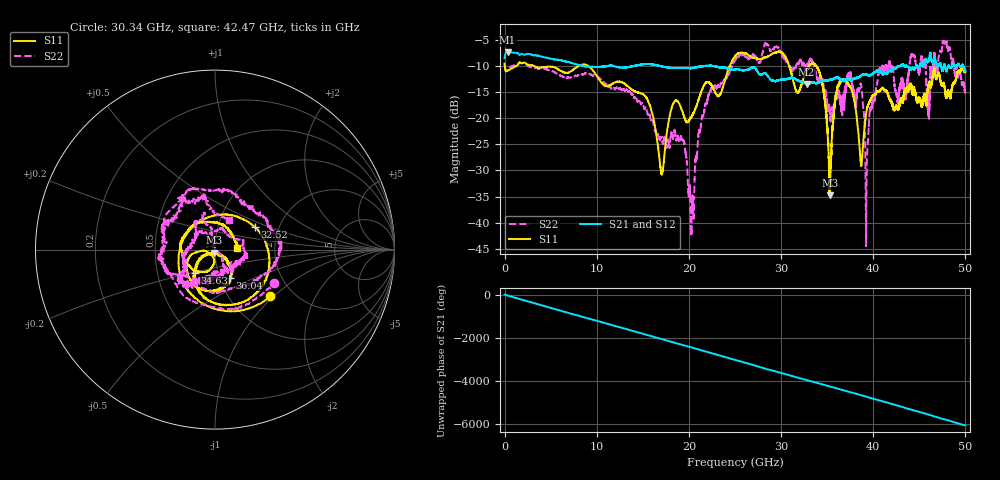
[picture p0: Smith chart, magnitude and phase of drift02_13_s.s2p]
!Created with skrf (http://scikit-rf.org).
# Hz S RI R 50.0
!freq ReS11 ImS11 ReS21 ImS21 ReS12 ImS12 ReS22 ImS22
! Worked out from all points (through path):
!   10001 points, 300 kHz to 50 GHz, reference 50 ohm
!   highest |S21| = -7.32 dB at 325.3 MHz (marker M1); lowest = -13.4 dB at 32.77 GHz (marker M2)
!   group delay of S21, straight-line fit = 335 ps
!   lowest |S11| = -34.8 dB at 35.29 GHz (marker M3), VSWR 1.04, Z = 49.6 - j1.76 ohm
!   |S11| at or under -10 dB: 3.233 GHz to 8.005 GHz (4.773 GHz wide, 84.9 % of centre); 9.103 GHz to 24.41 GHz (15.31 GHz wide, 91.4 % of centre); 33.83 GHz to end of sweep (the widest 3 of 9)
!   |S22| runs from -44.5 to -5.1 dB; largest |S21 - S12| = 0.015
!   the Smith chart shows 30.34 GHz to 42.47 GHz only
!   S11 on the Smith chart (normalised r, x): 30.34 GHz: 1.53, -0.95; 32.52 GHz: 1.51, +0.40; 34.63 GHz: 0.77, -0.21; 36.04 GHz: 1.12, -0.36; 42.47 GHz: 1.29, +0.02
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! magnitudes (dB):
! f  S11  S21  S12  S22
! 300 kHz  -9.5  -8.5  -8.5  -9.5
! 325.3 MHz  -10.9  -7.3  -7.3  -10.6
! 8.335 GHz  -9.8  -9.9  -9.9  -11.6
! 16.67 GHz  -25.8  -9.9  -9.9  -23.3
! 19.32 GHz  -18.8  -10.4  -10.4  -24.2
! 20.35 GHz  -19.4  -10.4  -10.4  -35.4
! 21.93 GHz  -13.1  -9.9  -10.0  -17.1
! 25 GHz  -8.1  -10.6  -10.7  -8.9
! 30.34 GHz  -7.9  -12.5  -12.6  -8.4
! 32.52 GHz  -11.8  -13.2  -13.3  -9.9
! 32.77 GHz  -10.8  -13.4  -13.5  -10.0
! 33.34 GHz  -9.5  -13.2  -13.2  -9.0
! 34.63 GHz  -15.3  -12.7  -12.7  -14.1
! 35.29 GHz  -34.8  -12.7  -12.6  -18.7
! 36.04 GHz  -15.0  -12.3  -12.2  -16.3
! 37.59 GHz  -14.2  -12.7  -12.7  -12.3
! 38.58 GHz  -27.0  -12.0  -12.0  -13.7
! 39.3 GHz  -18.3  -11.6  -11.7  -28.8
! 41.67 GHz  -15.8  -10.9  -11.1  -9.8
! 42.47 GHz  -18.0  -10.4  -10.4  -14.9
! 47.76 GHz  -14.3  -9.7  -9.7  -5.4
! 50 GHz  -11.1  -10.9  -10.8  -14.8
